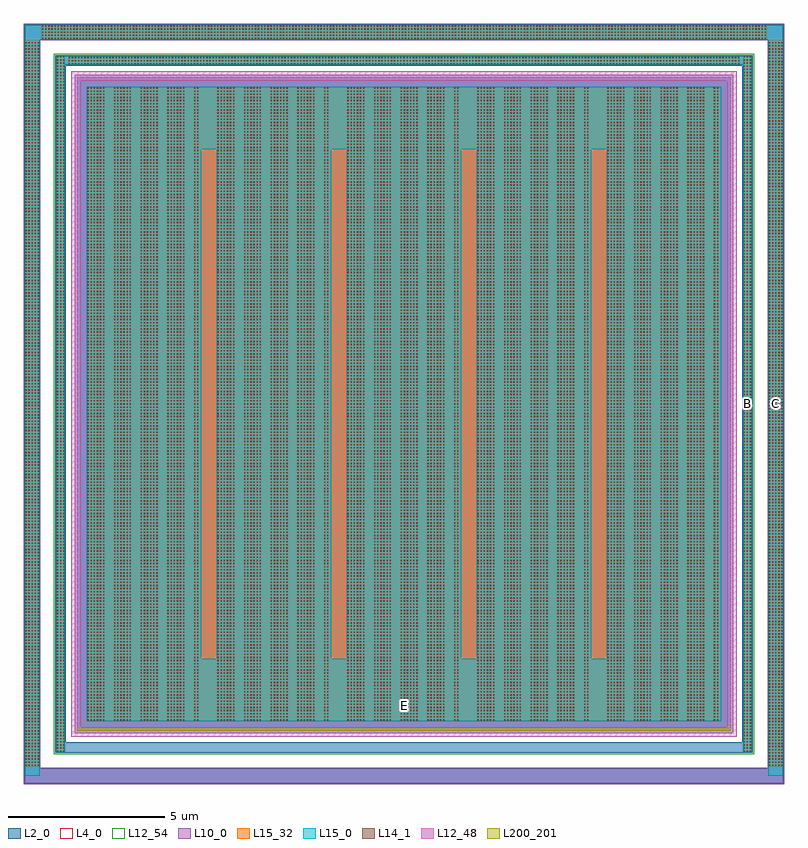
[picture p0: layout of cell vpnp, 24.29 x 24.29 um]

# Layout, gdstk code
import gdstk
lib = gdstk.Library(unit=1e-6, precision=1e-09)
def R(c, l, rs):  # rectangles x0, y0, x1, y1
    for r in rs: c.add(gdstk.rectangle(r[:2], r[2:], *l))
def A(c, l, x, y, w, h, nx, ny, dx, dy):  # array of equal rectangles
    R(c, l, [(x+i*dx, y+j*dy, x+i*dx+w, y+j*dy+h) for i in range(nx) for j in range(ny)])
L2_0 = (2, 0)
L4_0 = (4, 0)
L10_0 = (10, 0)
L12_48 = (12, 48)
L12_54 = (12, 54)
L14_1 = (14, 1)
L15_0 = (15, 0)
L15_32 = (15, 32)
L200_201 = (200, 201)

vpnp = lib.new_cell('vpnp')
R(vpnp, L2_0, [(-18.629,-10.659,5.623,-10.179), (-18.629,-10.179,-18.149,13.113), (5.143,-10.179,5.623,13.113), (-17.649,-9.679,4.643,-9.339), (-17.649,-9.339,-17.309,12.273), (4.303,-9.339,4.643,12.273), (-16.953,-8.983,3.947,11.917), (-17.649,12.273,4.643,12.613), (-18.629,13.113,5.623,13.593)])
R(vpnp, L4_0, [(-17.705,-9.735,4.699,12.669)])
R(vpnp, L10_0, [(-18.65,-10.68,5.644,-10.158), (-18.65,-10.158,-18.128,13.092), (5.122,-10.158,5.644,13.092), (-17.023,-9.053,4.017,11.987), (-18.65,13.092,5.644,13.614)])
R(vpnp, L12_48, [(-17.134,-9.164,4.128,-8.858), (-17.134,-8.858,-16.828,11.792), (3.822,-8.858,4.128,11.792), (-17.134,11.792,4.128,12.098)])
R(vpnp, L12_54, [(-17.705,-9.735,4.699,12.669)])
A(vpnp, L14_1, -18.609, -10.103, 0.04, 0.04, 5, 232, 0.1, 0.1)
A(vpnp, L14_1, 5.163, -10.103, 0.04, 0.04, 5, 232, 0.1, 0.1)
A(vpnp, L14_1, -17.599, -9.653, 0.04, 0.04, 3, 223, 0.1, 0.1)
A(vpnp, L14_1, 4.353, -9.653, 0.04, 0.04, 3, 223, 0.1, 0.1)
A(vpnp, L14_1, -16.623, -8.653, 0.04, 0.04, 6, 203, 0.1, 0.1)
A(vpnp, L14_1, -15.771, -8.653, 0.04, 0.04, 6, 203, 0.1, 0.1)
A(vpnp, L14_1, -14.919, -8.653, 0.04, 0.04, 6, 203, 0.1, 0.1)
A(vpnp, L14_1, -14.067, -8.653, 0.04, 0.04, 6, 203, 0.1, 0.1)
A(vpnp, L14_1, -13.215, -8.653, 0.04, 0.04, 1, 203, 0, 0.1)
A(vpnp, L14_1, -13.115, -8.653, 0.04, 0.04, 1, 203, 0, 0.1)
A(vpnp, L14_1, -12.467, -8.653, 0.04, 0.04, 6, 203, 0.1, 0.1)
A(vpnp, L14_1, -11.615, -8.653, 0.04, 0.04, 6, 203, 0.1, 0.1)
A(vpnp, L14_1, -10.763, -8.653, 0.04, 0.04, 6, 203, 0.1, 0.1)
A(vpnp, L14_1, -9.911, -8.653, 0.04, 0.04, 6, 203, 0.1, 0.1)
A(vpnp, L14_1, -9.059, -8.653, 0.04, 0.04, 1, 203, 0, 0.1)
A(vpnp, L14_1, -8.959, -8.653, 0.04, 0.04, 1, 203, 0, 0.1)
A(vpnp, L14_1, -8.312, -8.653, 0.04, 0.04, 6, 203, 0.1, 0.1)
A(vpnp, L14_1, -7.46, -8.653, 0.04, 0.04, 6, 203, 0.1, 0.1)
A(vpnp, L14_1, -6.608, -8.653, 0.04, 0.04, 6, 203, 0.1, 0.1)
A(vpnp, L14_1, -5.756, -8.653, 0.04, 0.04, 6, 203, 0.1, 0.1)
A(vpnp, L14_1, -4.904, -8.653, 0.04, 0.04, 1, 203, 0, 0.1)
A(vpnp, L14_1, -4.804, -8.653, 0.04, 0.04, 1, 203, 0, 0.1)
A(vpnp, L14_1, -4.157, -8.653, 0.04, 0.04, 6, 203, 0.1, 0.1)
A(vpnp, L14_1, -3.305, -8.653, 0.04, 0.04, 6, 203, 0.1, 0.1)
A(vpnp, L14_1, -2.453, -8.653, 0.04, 0.04, 6, 203, 0.1, 0.1)
A(vpnp, L14_1, -1.601, -8.653, 0.04, 0.04, 6, 203, 0.1, 0.1)
A(vpnp, L14_1, -0.749, -8.653, 0.04, 0.04, 1, 203, 0, 0.1)
A(vpnp, L14_1, -0.649, -8.653, 0.04, 0.04, 1, 203, 0, 0.1)
A(vpnp, L14_1, -0.002, -8.653, 0.04, 0.04, 6, 203, 0.1, 0.1)
A(vpnp, L14_1, 0.85, -8.653, 0.04, 0.04, 6, 203, 0.1, 0.1)
A(vpnp, L14_1, 1.702, -8.653, 0.04, 0.04, 6, 203, 0.1, 0.1)
A(vpnp, L14_1, 2.554, -8.653, 0.04, 0.04, 6, 203, 0.1, 0.1)
A(vpnp, L14_1, 3.406, -8.653, 0.04, 0.04, 1, 203, 0, 0.1)
A(vpnp, L14_1, 3.506, -8.653, 0.04, 0.04, 1, 203, 0, 0.1)
A(vpnp, L14_1, -17.223, 12.323, 0.04, 0.04, 215, 3, 0.1, 0.1)
A(vpnp, L14_1, -18.073, 13.133, 0.04, 0.04, 232, 5, 0.1, 0.1)
A(vpnp, L15_0, -12.485, -6.671, 3.655, 16.276, 4, 1, 4.155, 0)
R(vpnp, L15_0, [(-18.627,-10.419,-18.151,13.591), (5.145,-10.419,5.621,13.591), (-17.617,-9.671,-17.341,12.605), (4.335,-9.671,4.611,12.605), (-16.641,-8.671,3.635,-6.671), (-16.641,-6.671,-12.986,9.605), (-16.641,9.605,3.635,11.605), (-17.341,12.305,4.335,12.605), (-18.151,13.115,5.145,13.591)])
R(vpnp, L15_32, [(-18.627,-10.121,-18.151,13.115), (5.145,-10.121,5.621,13.115), (-17.617,-9.671,-17.341,12.605), (4.335,-9.671,4.611,12.605), (-16.641,-8.671,3.635,11.605), (-17.241,12.305,4.235,12.581), (-18.091,13.115,5.085,13.591)])
R(vpnp, L200_201, [(-16.953,-8.983,3.947,-8.883)])
vpnp.add(gdstk.Label('E', (-6.503,-8.171), layer=15, texttype=20))
vpnp.add(gdstk.Label('B', (4.473,1.467), layer=15, texttype=20))
vpnp.add(gdstk.Label('C', (5.383,1.467), layer=15, texttype=20))

lib.write_gds('vpnp.gds')
